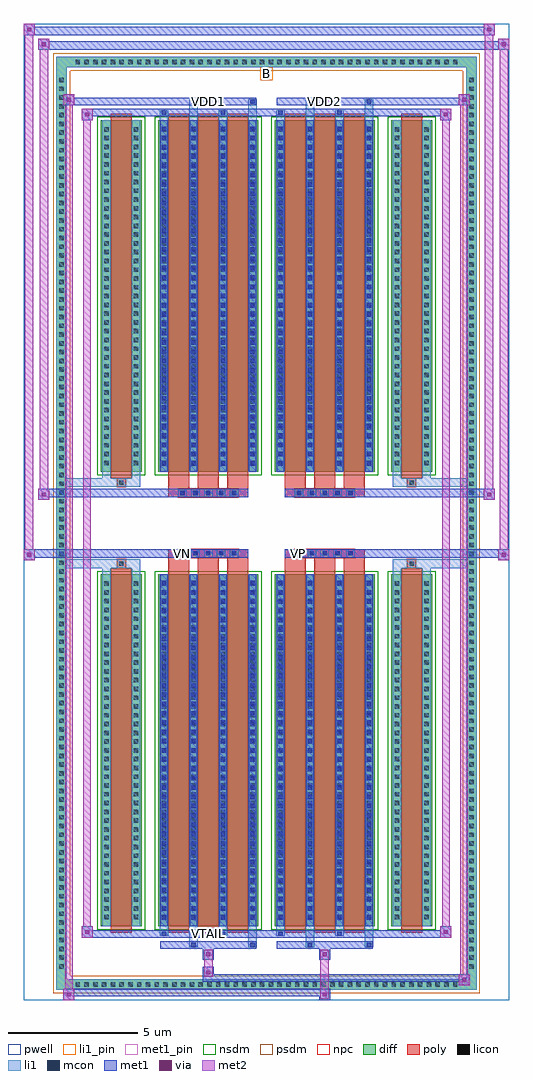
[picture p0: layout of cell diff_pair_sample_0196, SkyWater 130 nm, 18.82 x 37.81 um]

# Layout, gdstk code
import gdstk
lib = gdstk.Library(unit=1e-6, precision=5e-09)
def R(c, l, rs):  # rectangles x0, y0, x1, y1
    for r in rs: c.add(gdstk.rectangle(r[:2], r[2:], *l))
def A(c, l, x, y, w, h, nx, ny, dx, dy):  # array of equal rectangles
    R(c, l, [(x+i*dx, y+j*dy, x+i*dx+w, y+j*dy+h) for i in range(nx) for j in range(ny)])
def P(c, l, *ps):  # polygons
    for p in ps: c.add(gdstk.Polygon(p, *l))
pwell = (64, 44)
diff = (65, 20)
poly = (66, 20)
licon = (66, 44)
li1_pin = (67, 16)
li1 = (67, 20)
mcon = (67, 44)
met1_pin = (68, 16)
met1 = (68, 20)
via = (68, 44)
met2 = (69, 20)
nsdm = (93, 44)
psdm = (94, 20)
npc = (95, 20)

diff_pair_sample_0196 = lib.new_cell('diff_pair_sample_0196')
R(diff_pair_sample_0196, pwell, [(-9.41,-18.47,9.41,19.34), (-6.73,-16.66,-0.01,-0.8), (0.01,-16.66,6.73,-0.8), (-6.73,0.8,-0.01,16.66), (0.01,0.8,6.73,16.66)])
A(diff_pair_sample_0196, diff, -7.515, -18.07, 0.41, 0.41, 44, 2, 0.34, 35.73)
A(diff_pair_sample_0196, diff, -8.14, -17.375, 0.41, 0.41, 1, 102, 0, 0.34)
A(diff_pair_sample_0196, diff, 7.73, -17.375, 0.41, 0.41, 1, 102, 0, 0.34)
R(diff_pair_sample_0196, diff, [(-7.515,-18.07,7.515,-17.66), (-8.14,-17.375,-7.73,17.375), (7.73,-17.375,8.14,17.375), (-6.42,-15.615,-4.83,-1.985), (-4.19,-15.615,-0.32,-1.985), (0.32,-15.615,4.19,-1.985), (4.83,-15.615,6.42,-1.985), (-6.42,1.985,-4.83,15.615), (-4.19,1.985,-0.32,15.615), (0.32,1.985,4.19,15.615), (4.83,1.985,6.42,15.615), (-7.515,17.66,7.515,18.07)])
P(diff_pair_sample_0196, diff, [(8.14,18.07),(-8.14,18.07),(-8.14,-17.66),(-7.73,-17.66),(-7.73,17.66),(7.73,17.66),(7.73,-17.66),(-7.73,-17.66),(-8.14,-17.66),(-8.14,-18.07),(8.14,-18.07)])
A(diff_pair_sample_0196, poly, -3.8, -15.865, 0.81, 14.13, 3, 2, 1.14, 17.6)
A(diff_pair_sample_0196, poly, 0.71, -15.865, 0.81, 14.13, 3, 2, 1.14, 17.6)
A(diff_pair_sample_0196, poly, -3.8, -1.735, 0.81, 0.405, 3, 2, 1.14, 3.065)
A(diff_pair_sample_0196, poly, 0.71, -1.735, 0.81, 0.405, 3, 2, 1.14, 3.065)
A(diff_pair_sample_0196, poly, -3.42, -1.33, 0.33, 0.33, 5, 2, 0.5, 2.33)
A(diff_pair_sample_0196, poly, 1.09, -1.33, 0.33, 0.33, 5, 2, 0.5, 2.33)
R(diff_pair_sample_0196, poly, [(-6.03,-15.865,-5.22,-1.735), (5.22,-15.865,6.03,-1.735), (-5.79,-1.735,-5.46,-1.405), (-5.79,-1.735,-5.46,-1.405), (5.46,-1.735,5.79,-1.405), (5.46,-1.735,5.79,-1.405), (-3.8,-1.33,-0.71,-1), (0.71,-1.33,3.8,-1), (-3.8,1,-0.71,1.33), (0.71,1,3.8,1.33), (-5.79,1.405,-5.46,1.735), (-5.79,1.405,-5.46,1.735), (5.46,1.405,5.79,1.735), (5.46,1.405,5.79,1.735), (-6.03,1.735,-5.22,15.865), (5.22,1.735,6.03,15.865)])
A(diff_pair_sample_0196, licon, -7.395, -17.95, 0.17, 0.17, 44, 2, 0.34, 35.73)
A(diff_pair_sample_0196, licon, -8.02, -17.255, 0.17, 0.17, 1, 102, 0, 0.34)
A(diff_pair_sample_0196, licon, 7.85, -17.255, 0.17, 0.17, 1, 102, 0, 0.34)
A(diff_pair_sample_0196, licon, -6.28, -15.345, 0.17, 0.17, 1, 39, 0, 0.34)
A(diff_pair_sample_0196, licon, -5.14, -15.345, 0.17, 0.17, 1, 39, 0, 0.34)
A(diff_pair_sample_0196, licon, -4.05, -15.345, 0.17, 0.17, 4, 39, 1.14, 0.34)
A(diff_pair_sample_0196, licon, 0.46, -15.345, 0.17, 0.17, 4, 39, 1.14, 0.34)
A(diff_pair_sample_0196, licon, 4.97, -15.345, 0.17, 0.17, 1, 39, 0, 0.34)
A(diff_pair_sample_0196, licon, 6.11, -15.345, 0.17, 0.17, 1, 39, 0, 0.34)
A(diff_pair_sample_0196, licon, -3.34, -1.25, 0.17, 0.17, 5, 2, 0.5, 2.33)
A(diff_pair_sample_0196, licon, 1.17, -1.25, 0.17, 0.17, 5, 2, 0.5, 2.33)
A(diff_pair_sample_0196, licon, -6.28, 2.255, 0.17, 0.17, 1, 39, 0, 0.34)
A(diff_pair_sample_0196, licon, -5.14, 2.255, 0.17, 0.17, 1, 39, 0, 0.34)
A(diff_pair_sample_0196, licon, -4.05, 2.255, 0.17, 0.17, 4, 39, 1.14, 0.34)
A(diff_pair_sample_0196, licon, 0.46, 2.255, 0.17, 0.17, 4, 39, 1.14, 0.34)
A(diff_pair_sample_0196, licon, 4.97, 2.255, 0.17, 0.17, 1, 39, 0, 0.34)
A(diff_pair_sample_0196, licon, 6.11, 2.255, 0.17, 0.17, 1, 39, 0, 0.34)
R(diff_pair_sample_0196, licon, [(-5.71,-1.655,-5.54,-1.485), (5.54,-1.655,5.71,-1.485), (-5.71,1.485,-5.54,1.655), (5.54,1.485,5.71,1.655)])
R(diff_pair_sample_0196, li1_pin, [(-0.25,17.16,0.25,17.66)])
A(diff_pair_sample_0196, li1, -7.475, -18.03, 0.33, 0.33, 44, 2, 0.34, 35.73)
A(diff_pair_sample_0196, li1, -8.1, -17.335, 0.33, 0.33, 1, 102, 0, 0.34)
A(diff_pair_sample_0196, li1, 7.77, -17.335, 0.33, 0.33, 1, 102, 0, 0.34)
A(diff_pair_sample_0196, li1, -4.13, -15.615, 0.33, 13.63, 4, 2, 1.14, 17.6)
A(diff_pair_sample_0196, li1, 0.38, -15.615, 0.33, 13.63, 4, 2, 1.14, 17.6)
A(diff_pair_sample_0196, li1, -6.36, -15.425, 0.33, 0.33, 1, 39, 0, 0.34)
A(diff_pair_sample_0196, li1, -5.22, -15.425, 0.33, 0.33, 1, 39, 0, 0.34)
A(diff_pair_sample_0196, li1, -4.13, -15.425, 0.33, 0.33, 4, 39, 1.14, 0.34)
A(diff_pair_sample_0196, li1, 0.38, -15.425, 0.33, 0.33, 4, 39, 1.14, 0.34)
A(diff_pair_sample_0196, li1, 4.89, -15.425, 0.33, 0.33, 1, 39, 0, 0.34)
A(diff_pair_sample_0196, li1, 6.03, -15.425, 0.33, 0.33, 1, 39, 0, 0.34)
A(diff_pair_sample_0196, li1, -4.05, -15.365, 0.17, 0.17, 4, 37, 1.14, 0.36)
A(diff_pair_sample_0196, li1, -4.05, -15.365, 0.17, 13.13, 4, 2, 1.14, 17.6)
A(diff_pair_sample_0196, li1, 0.46, -15.365, 0.17, 0.17, 4, 37, 1.14, 0.36)
A(diff_pair_sample_0196, li1, 0.46, -15.365, 0.17, 13.13, 4, 2, 1.14, 17.6)
A(diff_pair_sample_0196, li1, -3.42, -1.33, 0.33, 0.33, 5, 2, 0.5, 2.33)
A(diff_pair_sample_0196, li1, 1.09, -1.33, 0.33, 0.33, 5, 2, 0.5, 2.33)
A(diff_pair_sample_0196, li1, -6.36, 2.175, 0.33, 0.33, 1, 39, 0, 0.34)
A(diff_pair_sample_0196, li1, -5.22, 2.175, 0.33, 0.33, 1, 39, 0, 0.34)
A(diff_pair_sample_0196, li1, -4.13, 2.175, 0.33, 0.33, 4, 39, 1.14, 0.34)
A(diff_pair_sample_0196, li1, 0.38, 2.175, 0.33, 0.33, 4, 39, 1.14, 0.34)
A(diff_pair_sample_0196, li1, 4.89, 2.175, 0.33, 0.33, 1, 39, 0, 0.34)
A(diff_pair_sample_0196, li1, 6.03, 2.175, 0.33, 0.33, 1, 39, 0, 0.34)
A(diff_pair_sample_0196, li1, -4.05, 2.235, 0.17, 0.17, 4, 37, 1.14, 0.36)
A(diff_pair_sample_0196, li1, 0.46, 2.235, 0.17, 0.17, 4, 37, 1.14, 0.36)
R(diff_pair_sample_0196, li1, [(-8.14,-18.07,-7.73,-17.66), (-8.14,-18.07,-7.73,-17.66), (-7.73,-18.07,7.73,-17.66), (7.73,-18.07,8.14,-17.66), (7.73,-18.07,8.14,-17.66), (-8.14,-17.66,-7.73,17.66), (7.73,-17.66,8.14,17.66), (-2.99,-16.42,-2.66,-15.615), (-2.91,-16.42,-2.74,-16.25), (-0.71,-16.42,-0.38,-15.615), (-0.63,-16.42,-0.46,-16.25), (1.52,-16.42,1.85,-15.615), (1.6,-16.42,1.77,-16.25), (3.8,-16.42,4.13,-15.615), (3.88,-16.42,4.05,-16.25), (-4.13,-15.99,-3.8,-15.615), (-4.05,-15.99,-3.88,-15.82), (-1.85,-15.99,-1.52,-15.615), (-1.77,-15.99,-1.6,-15.82), (0.38,-15.99,0.71,-15.615), (0.46,-15.99,0.63,-15.82), (2.66,-15.99,2.99,-15.615), (2.74,-15.99,2.91,-15.82), (-6.36,-15.615,-6.03,-1.985), (-5.22,-15.615,-4.89,-1.985), (4.89,-15.615,5.22,-1.985), (6.03,-15.615,6.36,-1.985), (-6.36,-1.985,-6.03,-1.405), (-5.22,-1.985,-4.89,-1.405), (4.89,-1.985,5.22,-1.405), (6.03,-1.985,6.36,-1.405), (-8.14,-1.735,-5.79,-1.405), (-6.36,-1.735,-5.79,-1.405), (-5.79,-1.735,-5.46,-1.405), (-5.46,-1.735,-4.89,-1.405), (4.89,-1.735,5.46,-1.405), (5.46,-1.735,5.79,-1.405), (5.46,-1.735,8.14,-1.405), (5.79,-1.735,6.36,-1.405), (-8.14,1.405,-5.79,1.735), (-6.36,1.405,-5.79,1.735), (-6.36,1.405,-6.03,1.985), (-5.79,1.405,-5.46,1.735), (-5.46,1.405,-4.89,1.735), (-5.22,1.405,-4.89,1.985), (4.89,1.405,5.46,1.735), (4.89,1.405,5.22,1.985), (5.46,1.405,5.79,1.735), (5.46,1.405,8.14,1.735), (5.79,1.405,6.36,1.735), (6.03,1.405,6.36,1.985), (-6.36,1.985,-6.03,15.615), (-5.22,1.985,-4.89,15.615), (4.89,1.985,5.22,15.615), (6.03,1.985,6.36,15.615), (-4.13,15.615,-3.8,15.99), (-2.99,15.615,-2.66,16.42), (-1.85,15.615,-1.52,15.99), (-0.71,15.615,-0.38,16.42), (0.38,15.615,0.71,15.99), (1.52,15.615,1.85,16.42), (2.66,15.615,2.99,15.99), (3.8,15.615,4.13,16.42), (-4.05,15.82,-3.88,15.99), (-1.77,15.82,-1.6,15.99), (0.46,15.82,0.63,15.99), (2.74,15.82,2.91,15.99), (-2.91,16.25,-2.74,16.42), (-0.63,16.25,-0.46,16.42), (1.6,16.25,1.77,16.42), (3.88,16.25,4.05,16.42), (-8.14,17.66,-7.73,18.07), (-8.14,17.66,-7.73,18.07), (-7.73,17.66,7.73,18.07), (7.73,17.66,8.14,18.07), (7.73,17.66,8.14,18.07)])
A(diff_pair_sample_0196, mcon, -4.05, -15.365, 0.17, 0.17, 4, 37, 1.14, 0.36)
A(diff_pair_sample_0196, mcon, 0.46, -15.365, 0.17, 0.17, 4, 37, 1.14, 0.36)
A(diff_pair_sample_0196, mcon, -3.34, -1.25, 0.17, 0.17, 5, 2, 0.5, 2.33)
A(diff_pair_sample_0196, mcon, 1.17, -1.25, 0.17, 0.17, 5, 2, 0.5, 2.33)
A(diff_pair_sample_0196, mcon, -4.05, 2.235, 0.17, 0.17, 4, 37, 1.14, 0.36)
A(diff_pair_sample_0196, mcon, 0.46, 2.235, 0.17, 0.17, 4, 37, 1.14, 0.36)
R(diff_pair_sample_0196, mcon, [(-2.91,-16.42,-2.74,-16.25), (-0.63,-16.42,-0.46,-16.25), (1.6,-16.42,1.77,-16.25), (3.88,-16.42,4.05,-16.25), (-4.05,-15.99,-3.88,-15.82), (-1.77,-15.99,-1.6,-15.82), (0.46,-15.99,0.63,-15.82), (2.74,-15.99,2.91,-15.82), (-4.05,15.82,-3.88,15.99), (-1.77,15.82,-1.6,15.99), (0.46,15.82,0.63,15.99), (2.74,15.82,2.91,15.99), (-2.91,16.25,-2.74,16.42), (-0.63,16.25,-0.46,16.42), (1.6,16.25,1.77,16.42), (3.88,16.25,4.05,16.42)])
R(diff_pair_sample_0196, met1_pin, [(-2.39,-16.03,-2.12,-15.76), (-3.39,-1.29,-3.12,-1.02), (1.12,-1.29,1.39,-1.02), (-2.39,16.21,-2.12,16.48), (2.12,16.21,2.39,16.48)])
A(diff_pair_sample_0196, met1, -4.11, -15.615, 0.29, 13.63, 4, 2, 1.14, 17.6)
A(diff_pair_sample_0196, met1, 0.4, -15.615, 0.29, 13.63, 4, 2, 1.14, 17.6)
A(diff_pair_sample_0196, met1, -4.11, -15.425, 0.29, 0.29, 4, 37, 1.14, 0.36)
A(diff_pair_sample_0196, met1, 0.4, -15.425, 0.29, 0.29, 4, 37, 1.14, 0.36)
A(diff_pair_sample_0196, met1, -3.4, -1.31, 0.29, 0.29, 5, 2, 0.5, 2.33)
A(diff_pair_sample_0196, met1, 1.11, -1.31, 0.29, 0.29, 5, 2, 0.5, 2.33)
A(diff_pair_sample_0196, met1, -4.11, 2.175, 0.29, 0.29, 4, 37, 1.14, 0.36)
A(diff_pair_sample_0196, met1, 0.4, 2.175, 0.29, 0.29, 4, 37, 1.14, 0.36)
R(diff_pair_sample_0196, met1, [(-7.87,-18.47,-7.44,-18.04), (2.04,-18.47,2.47,-18.04), (-7.87,-18.33,2.47,-18.04), (7.44,-17.9,7.87,-17.47), (-2.47,-17.76,7.87,-17.47), (-2.47,-17.62,-2.04,-17.19), (-2.47,-16.91,-2.04,-16.48), (2.04,-16.91,2.47,-16.48), (-4.11,-16.48,-0.4,-16.19), (-2.97,-16.48,-2.68,-16.19), (-0.69,-16.48,-0.4,-16.19), (0.4,-16.48,4.11,-16.19), (1.54,-16.48,1.83,-16.19), (3.82,-16.48,4.11,-16.19), (-7.16,-16.05,-6.73,-15.62), (-7.16,-16.05,-4.11,-15.76), (-4.11,-16.05,-3.82,-15.76), (-4.11,-16.05,-0.4,-15.76), (-1.83,-16.05,-1.54,-15.76), (-0.4,-16.05,0.4,-15.76), (0.4,-16.05,0.69,-15.76), (0.4,-16.05,4.11,-15.76), (2.68,-16.05,2.97,-15.76), (4.11,-16.05,7.16,-15.76), (6.73,-16.05,7.16,-15.62), (-9.41,-1.43,-8.98,-1), (8.98,-1.43,9.41,-1), (-9.41,-1.33,-0.71,-1), (-3.8,-1.33,-0.71,-1), (0.71,-1.33,3.8,-1), (0.71,-1.33,9.41,-1), (-8.84,0.9,-8.41,1.33), (8.41,0.9,8.84,1.33), (-8.84,1,-3.8,1.33), (-3.8,1,-0.71,1.33), (0.71,1,3.8,1.33), (3.8,1,8.84,1.33), (-7.16,15.62,-6.73,16.05), (6.73,15.62,7.16,16.05), (-7.16,15.76,-4.11,16.05), (-4.11,15.76,-3.82,16.05), (-4.11,15.76,-0.4,16.05), (-1.83,15.76,-1.54,16.05), (-0.4,15.76,0.4,16.05), (0.4,15.76,0.69,16.05), (0.4,15.76,4.11,16.05), (2.68,15.76,2.97,16.05), (4.11,15.76,7.16,16.05), (-7.87,16.19,-7.44,16.62), (-7.87,16.19,-4.11,16.48), (-4.11,16.19,-0.4,16.48), (-2.97,16.19,-2.68,16.48), (-0.69,16.19,-0.4,16.48), (0.4,16.19,4.11,16.48), (1.54,16.19,1.83,16.48), (3.82,16.19,4.11,16.48), (4.11,16.19,7.87,16.48), (7.44,16.19,7.87,16.62), (-8.84,18.34,-8.41,18.77), (-8.84,18.34,-6.73,18.67), (-6.73,18.34,6.73,18.67), (6.73,18.34,9.41,18.67), (8.98,18.34,9.41,18.77), (-9.41,18.91,-8.98,19.34), (-9.41,18.91,-6.73,19.24), (-6.73,18.91,6.73,19.24), (6.73,18.91,8.84,19.24), (8.41,18.91,8.84,19.34)])
R(diff_pair_sample_0196, via, [(-7.73,-18.33,-7.58,-18.18), (2.18,-18.33,2.33,-18.18), (7.58,-17.76,7.73,-17.61), (-2.33,-17.48,-2.18,-17.33), (-2.33,-16.77,-2.18,-16.62), (2.18,-16.77,2.33,-16.62), (-7.02,-15.91,-6.87,-15.76), (6.87,-15.91,7.02,-15.76), (-9.27,-1.29,-9.12,-1.14), (9.12,-1.29,9.27,-1.14), (-8.7,1.04,-8.55,1.19), (8.55,1.04,8.7,1.19), (-7.02,15.76,-6.87,15.91), (6.87,15.76,7.02,15.91), (-7.73,16.33,-7.58,16.48), (7.58,16.33,7.73,16.48), (-8.7,18.48,-8.55,18.63), (9.12,18.48,9.27,18.63), (-9.27,19.05,-9.12,19.2), (8.55,19.05,8.7,19.2)])
R(diff_pair_sample_0196, met2, [(-7.87,-18.47,-7.44,-18.04), (-7.8,-18.47,-7.51,16.62), (-7.51,-18.47,-7.44,-18.04), (-7.82,-18.42,-7.49,-18.09), (2.09,-18.42,2.42,-18.09), (2.09,-18.09,2.42,-16.86), (7.44,-17.9,7.87,-17.47), (7.51,-17.9,7.8,16.62), (7.8,-17.9,7.87,-17.47), (7.49,-17.85,7.82,-17.52), (-2.42,-17.57,-2.09,-17.24), (-2.42,-17.24,-2.09,-16.86), (-2.42,-16.86,-2.09,-16.53), (2.09,-16.86,2.42,-16.53), (-7.16,-16.05,-6.73,-15.62), (-7.09,-16.05,-6.8,16.05), (-6.8,-16.05,-6.73,-15.62), (6.73,-16.05,7.16,-15.62), (6.8,-16.05,7.09,16.05), (7.09,-16.05,7.16,-15.62), (-7.11,-16,-6.78,-15.67), (6.78,-16,7.11,-15.67), (-9.41,-1.43,-8.98,-1), (-9.36,-1.43,-9.03,19.34), (-9.03,-1.43,-8.98,-1), (8.98,-1.43,9.41,-1), (9.03,-1.43,9.36,18.77), (9.36,-1.43,9.41,-1), (-9.36,-1.38,-9.03,-1.05), (9.03,-1.38,9.36,-1.05), (-8.84,0.9,-8.41,1.33), (-8.79,0.9,-8.46,18.77), (-8.46,0.9,-8.41,1.33), (8.41,0.9,8.84,1.33), (8.46,0.9,8.79,19.34), (8.79,0.9,8.84,1.33), (-8.79,0.95,-8.46,1.28), (8.46,0.95,8.79,1.28), (-7.16,15.62,-6.73,16.05), (-6.8,15.62,-6.73,16.05), (6.73,15.62,7.16,16.05), (7.09,15.62,7.16,16.05), (-7.11,15.67,-6.78,16), (6.78,15.67,7.11,16), (-7.87,16.19,-7.44,16.62), (-7.51,16.19,-7.44,16.62), (7.44,16.19,7.87,16.62), (7.8,16.19,7.87,16.62), (-7.82,16.24,-7.49,16.57), (7.49,16.24,7.82,16.57), (-8.84,18.34,-8.41,18.77), (-8.46,18.34,-8.41,18.77), (8.98,18.34,9.41,18.77), (9.36,18.34,9.41,18.77), (-8.79,18.39,-8.46,18.72), (9.03,18.39,9.36,18.72), (-9.41,18.91,-8.98,19.34), (-9.03,18.91,-8.98,19.34), (8.41,18.91,8.84,19.34), (8.79,18.91,8.84,19.34), (-9.36,18.96,-9.03,19.29), (8.46,18.96,8.79,19.29)])
R(diff_pair_sample_0196, nsdm, [(-6.55,-15.745,-4.7,-1.855), (-4.32,-15.745,-0.19,-1.855), (0.19,-15.745,4.32,-1.855), (4.7,-15.745,6.55,-1.855), (-6.55,1.855,-4.7,15.745), (-4.32,1.855,-0.19,15.745), (0.19,1.855,4.32,15.745), (4.7,1.855,6.55,15.745)])
P(diff_pair_sample_0196, psdm, [(8.27,18.2),(-8.27,18.2),(-8.27,-17.53),(-7.6,-17.53),(-7.6,17.53),(7.6,17.53),(7.6,-17.53),(-7.6,-17.53),(-8.27,-17.53),(-8.27,-18.2),(8.27,-18.2)])
A(diff_pair_sample_0196, npc, -3.44, -1.35, 0.37, 0.37, 5, 2, 0.5, 2.33)
A(diff_pair_sample_0196, npc, 1.07, -1.35, 0.37, 0.37, 5, 2, 0.5, 2.33)
R(diff_pair_sample_0196, npc, [(-5.81,-1.755,-5.44,-1.385), (5.44,-1.755,5.81,-1.385), (-3.44,-1.35,-2.57,-0.98), (-3.44,-1.35,-2.57,-0.98), (-2.94,-1.35,-2.07,-0.98), (-2.94,-1.35,-2.07,-0.98), (-2.44,-1.35,-1.57,-0.98), (-2.44,-1.35,-1.57,-0.98), (-1.94,-1.35,-1.07,-0.98), (-1.94,-1.35,-1.07,-0.98), (1.07,-1.35,1.94,-0.98), (1.07,-1.35,1.94,-0.98), (1.57,-1.35,2.44,-0.98), (1.57,-1.35,2.44,-0.98), (2.07,-1.35,2.94,-0.98), (2.07,-1.35,2.94,-0.98), (2.57,-1.35,3.44,-0.98), (2.57,-1.35,3.44,-0.98), (-3.44,0.98,-2.57,1.35), (-3.44,0.98,-2.57,1.35), (-2.94,0.98,-2.07,1.35), (-2.94,0.98,-2.07,1.35), (-2.44,0.98,-1.57,1.35), (-2.44,0.98,-1.57,1.35), (-1.94,0.98,-1.07,1.35), (-1.94,0.98,-1.07,1.35), (1.07,0.98,1.94,1.35), (1.07,0.98,1.94,1.35), (1.57,0.98,2.44,1.35), (1.57,0.98,2.44,1.35), (2.07,0.98,2.94,1.35), (2.07,0.98,2.94,1.35), (2.57,0.98,3.44,1.35), (2.57,0.98,3.44,1.35), (-5.81,1.385,-5.44,1.755), (5.44,1.385,5.81,1.755)])
diff_pair_sample_0196.add(gdstk.Label('VTAIL', (-2.255,-15.895), layer=68, texttype=5))
diff_pair_sample_0196.add(gdstk.Label('VN', (-3.255,-1.155), layer=68, texttype=5))
diff_pair_sample_0196.add(gdstk.Label('VP', (1.255,-1.155), layer=68, texttype=5))
diff_pair_sample_0196.add(gdstk.Label('B', (0,17.41), layer=67, texttype=5))
diff_pair_sample_0196.add(gdstk.Label('VDD2', (2.255,16.345), layer=68, texttype=5))
diff_pair_sample_0196.add(gdstk.Label('VDD1', (-2.255,16.345), layer=68, texttype=5))

lib.write_gds('diff_pair_sample_0196.gds')
